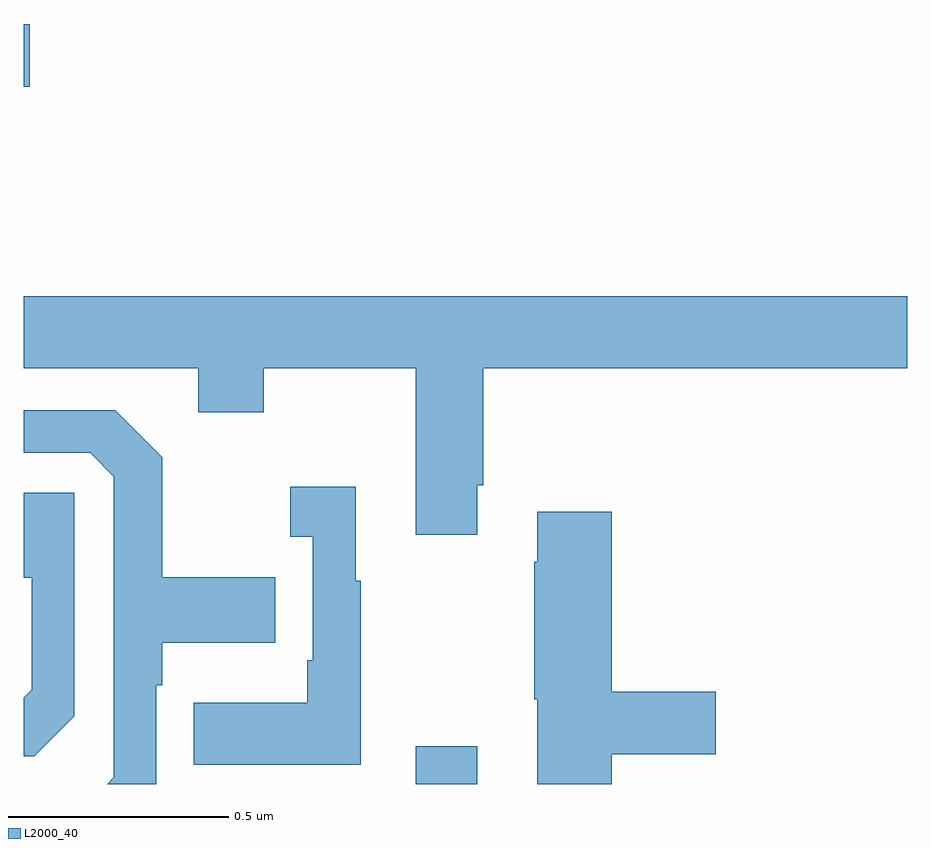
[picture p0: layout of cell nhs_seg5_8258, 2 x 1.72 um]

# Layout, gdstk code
import gdstk
lib = gdstk.Library(unit=1e-6, precision=1e-09)
def R(c, l, rs):  # rectangles x0, y0, x1, y1
    for r in rs: c.add(gdstk.rectangle(r[:2], r[2:], *l))
def P(c, l, *ps):  # polygons
    for p in ps: c.add(gdstk.Polygon(p, *l))
L2000_40 = (2000, 40)

nhs_seg5_8258 = lib.new_cell('nhs_seg5_8258')
R(nhs_seg5_8258, L2000_40, [(219.887,875.799,220.027,875.884), (219,877.378,219.013,877.52)])
P(nhs_seg5_8258, L2000_40, [(220.027,876.475),(220.04,876.475),(220.04,876.74),(221,876.74),(221,876.904),(219,876.904),(219,876.74),(219.395,876.74),(219.395,876.641),(219.543,876.641),(219.543,876.74),(219.887,876.74),(219.887,876.363),(220.027,876.363)],
  [(219.3,876.023),(219.313,876.023),(219.313,876.119),(219.569,876.119),(219.569,876.267),(219.313,876.267),(219.313,876.539),(219.207,876.645),(219,876.645),(219,876.549),(219.15,876.549),(219.204,876.495),(219.204,875.814),(219.189,875.799),(219.3,875.799)],
  [(219.763,876.259),(219.751,876.259),(219.751,876.472),(219.603,876.472),(219.603,876.359),(219.654,876.359),(219.654,876.079),(219.642,876.079),(219.642,875.983),(219.385,875.983),(219.385,875.843),(219.763,875.843)],
  [(219.114,875.952),(219.114,876.459),(219,876.459),(219,876.266),(219.018,876.266),(219.018,876.012),(219,875.994),(219,875.862),(219.024,875.862)],
  [(220.331,875.866),(220.567,875.866),(220.567,876.008),(220.331,876.008),(220.331,876.415),(220.163,876.415),(220.163,876.302),(220.156,876.302),(220.156,875.991),(220.163,875.991),(220.163,875.799),(220.331,875.799)])

lib.write_gds('nhs_seg5_8258.gds')
